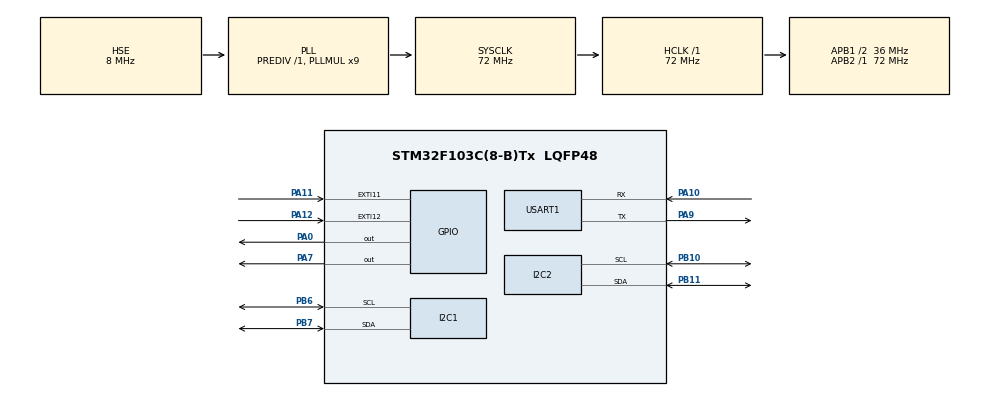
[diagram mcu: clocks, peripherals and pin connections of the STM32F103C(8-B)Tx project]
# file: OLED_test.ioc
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I2C1.I2C_Mode=I2C_Fast
Mcu.Family=STM32F1
Mcu.Name=STM32F103C(8-B)Tx
Mcu.Package=LQFP48
NVIC.EXTI15_10_IRQn=true\:1\:0\:true\:false\:true\:true\:true\:true
NVIC.PriorityGroup=NVIC_PRIORITYGROUP_4
NVIC.USART1_IRQn=true\:4\:0\:true\:false\:true\:true\:true\:true
PA0-WKUP.Signal=GPIO_Output
PA10.Mode=Asynchronous
PA10.Signal=USART1_RX
PA11.Signal=GPXTI11
PA12.Signal=GPXTI12
PA13.Mode=Serial_Wire
PA13.Signal=SYS_JTMS-SWDIO
PA14.Mode=Serial_Wire
PA14.Signal=SYS_JTCK-SWCLK
PA7.Signal=GPIO_Output
PA9.Mode=Asynchronous
PA9.Signal=USART1_TX
PB10.Mode=I2C
PB10.Signal=I2C2_SCL
PB11.Mode=I2C
PB11.Signal=I2C2_SDA
PB6.Mode=I2C
PB6.Signal=I2C1_SCL
PB7.Mode=I2C
PB7.Signal=I2C1_SDA
PD0-OSC_IN.Mode=HSE-External-Oscillator
PD0-OSC_IN.Signal=RCC_OSC_IN
PD1-OSC_OUT.Mode=HSE-External-Oscillator
PD1-OSC_OUT.Signal=RCC_OSC_OUT
ProjectManager.HeapSize=0x200
ProjectManager.StackSize=0x400
ProjectManager.TargetToolchain=STM32CubeIDE
RCC.AHBFreq_Value=72000000
RCC.APB1CLKDivider=RCC_HCLK_DIV2
RCC.APB1Freq_Value=36000000
RCC.APB1TimFreq_Value=72000000
RCC.APB2Freq_Value=72000000
RCC.APB2TimFreq_Value=72000000
RCC.HCLKFreq_Value=72000000
RCC.PLLMUL=RCC_PLL_MUL9
RCC.PLLSourceVirtual=RCC_PLLSOURCE_HSE
RCC.SYSCLKFreq_VALUE=72000000
RCC.SYSCLKSource=RCC_SYSCLKSOURCE_PLLCLK
RCC.USBFreq_Value=72000000
TIM1.Period=0xffff-1
TIM1.Prescaler=50-1
USART1.VirtualMode=VM_ASYNC
VP_TIM1_VS_ClockSourceINT.Mode=Internal
board=custom

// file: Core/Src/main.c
/* USER CODE BEGIN Header */
/**
  ******************************************************************************
  * @file           : main.c
  * @brief          : Main program body
  ******************************************************************************
  * @attention
  *
  * Copyright (c) 2023 STMicroelectronics.
  * All rights reserved.
  *
  * This software is licensed under terms that can be found in the LICENSE file
  * in the root directory of this software component.
  * If no LICENSE file comes with this software, it is provided AS-IS.
  *
  ******************************************************************************
  */
/* USER CODE END Header */
#include "main.h"

/* USER CODE BEGIN Includes */
#include "stdio.h"
#include "BH1750.h"
#include"fonts.h"
#include"test.h"
#include"ssd1306.h"
#include"bitmap.h"
/* USER CODE END Includes */

/* USER CODE BEGIN PTD */
uint8_t u8_RxBuff[20];
uint8_t u8_RxData;
uint8_t _rxIndex;
int Tx_Flag = 3;
uint32_t ticknow;

/* USER CODE END PTD */

I2C_HandleTypeDef hi2c1;
I2C_HandleTypeDef hi2c2;

TIM_HandleTypeDef htim1;

UART_HandleTypeDef huart1;

/* USER CODE BEGIN PV */
extern volatile uint32_t uwTick;
char strtest[20];
char Uart_recv[10];
int st[3] = {6000,1000,3000};
int m1 = 0, m2 =0, m3 =0, m4 =0;
uint32_t uwtick1;
/* USER CODE END PV */

void SystemClock_Config(void);
static void MX_GPIO_Init(void);
static void MX_I2C1_Init(void);
static void MX_I2C2_Init(void);
static void MX_TIM1_Init(void);
static void MX_USART1_UART_Init(void);

/* USER CODE BEGIN 0 */
int value=0;
float temp;
int warning_temp = 90;
int warning_lux = 50;
////////
void delay (uint16_t time)
{
	/* change your code here for the delay in microseconds */
	__HAL_TIM_SET_COUNTER(&htim1, 0);
	while ((__HAL_TIM_GET_COUNTER(&htim1))<time);
}

void Set_Pin_Output (GPIO_TypeDef *GPIOx, uint16_t GPIO_Pin)
{
	GPIO_InitTypeDef GPIO_InitStruct = {0};
	GPIO_InitStruct.Pin = GPIO_Pin;
	GPIO_InitStruct.Mode = GPIO_MODE_OUTPUT_PP;
	GPIO_InitStruct.Speed = GPIO_SPEED_FREQ_LOW;
	HAL_GPIO_Init(GPIOx, &GPIO_InitStruct);
}

void Set_Pin_Input (GPIO_TypeDef *GPIOx, uint16_t GPIO_Pin)
{
	GPIO_InitTypeDef GPIO_InitStruct = {0};
	GPIO_InitStruct.Pin = GPIO_Pin;
	GPIO_InitStruct.Mode = GPIO_MODE_INPUT;
	GPIO_InitStruct.Pull = GPIO_PULLUP;
	HAL_GPIO_Init(GPIOx, &GPIO_InitStruct);
}
/*********************************** DS18B20 FUNCTIONS ****************************************/

#define DS18B20_PORT GPIOA
#define DS18B20_PIN GPIO_PIN_0

uint8_t DS18B20_Start (void)
{
	uint8_t Response = 0;
	Set_Pin_Output(DS18B20_PORT, DS18B20_PIN);   // set the pin as output
	HAL_GPIO_WritePin (DS18B20_PORT, DS18B20_PIN, 0);  // pull the pin low
	delay (480);   // delay according to datasheet

	Set_Pin_Input(DS18B20_PORT, DS18B20_PIN);    // set the pin as input
	delay (80);    // delay according to datasheet

	if (!(HAL_GPIO_ReadPin (DS18B20_PORT, DS18B20_PIN))) Response = 1;    // if the pin is low i.e the presence pulse is detected
	else Response = -1;

	delay (400); // 480 us delay totally.

	return Response;
}

void DS18B20_Write (uint8_t data)
{
	Set_Pin_Output(DS18B20_PORT, DS18B20_PIN);  // set as output

	for (int i=0; i<8; i++)
	{

		if ((data & (1<<i))!=0)  // if the bit is high
		{
			// write 1

			Set_Pin_Output(DS18B20_PORT, DS18B20_PIN);  // set as output
			HAL_GPIO_WritePin (DS18B20_PORT, DS18B20_PIN, 0);  // pull the pin LOW
			delay (1);  // wait for 1 us

			Set_Pin_Input(DS18B20_PORT, DS18B20_PIN);  // set as input
			delay (50);  // wait for 60 us
		}

		else  // if the bit is low
		{
			// write 0

			Set_Pin_Output(DS18B20_PORT, DS18B20_PIN);
			HAL_GPIO_WritePin (DS18B20_PORT, DS18B20_PIN, 0);  // pull the pin LOW
			delay (50);  // wait for 60 us

			Set_Pin_Input(DS18B20_PORT, DS18B20_PIN);
		}
	}
}

uint8_t DS18B20_Read (void)
{
	uint8_t value=0;

	Set_Pin_Input(DS18B20_PORT, DS18B20_PIN);

	for (int i=0;i<8;i++)
	{
		Set_Pin_Output(DS18B20_PORT, DS18B20_PIN);   // set as output

		HAL_GPIO_WritePin (DS18B20_PORT, DS18B20_PIN, 0);  // pull the data pin LOW
		delay (1);  // wait for > 1us

		Set_Pin_Input(DS18B20_PORT, DS18B20_PIN);  // set as input
		if (HAL_GPIO_ReadPin (DS18B20_PORT, DS18B20_PIN))  // if the pin is HIGH
		{
			value |= 1<<i;  // read = 1
		}
		delay (50);  // wait for 60 us
	}
	return value;
}
float DS18B20_Readvalue ()
{
	uint8_t  Temp_byte1, Temp_byte2;
	uint16_t  TEMP;

	float Temperature = 0;

	 DS18B20_Start ();
		  	  HAL_Delay (1);
		  	  DS18B20_Write (0xCC);  // skip ROM
		  	  DS18B20_Write (0x44);  // convert t
		  	  HAL_Delay (800);

		  	   DS18B20_Start ();
		        HAL_Delay(1);
		        DS18B20_Write (0xCC);  // skip ROM
		        DS18B20_Write (0xBE);  // Read Scratch-pad

		        Temp_byte1 = DS18B20_Read();
		  	  Temp_byte2 = DS18B20_Read();
		  	  TEMP = (Temp_byte2<<8)|Temp_byte1;
		  	  Temperature = (float)TEMP/16;
		  	  return Temperature;
}
void hien_thilux(char * str);
void hien_thitemp (char * TEMP);
void hien_thi(const unsigned char* str);
BH1750_device_t* test_dev;
void task1();
void task2();
void canh_bao ();
int __io_putchar (int ch){
	HAL_UART_Transmit(&huart1,(uint8_t *)&ch,1,100);
	return ch;
}

/* USER CODE END 0 */

int main(void)
{

  /* MCU Configuration--------------------------------------------------------*/

  /* Reset of all peripherals, Initializes the Flash interface and the Systick. */
  HAL_Init();

  /* Configure the system clock */
  SystemClock_Config();

  /* Initialize all configured peripherals */
  MX_GPIO_Init();
  MX_I2C1_Init();
  MX_I2C2_Init();
  MX_TIM1_Init();
  MX_USART1_UART_Init();
  /* USER CODE BEGIN 2 */
  HAL_TIM_Base_Start(&htim1);
  SSD1306_Init (); // initialize the display
  BH1750_init_i2c(&hi2c2);
  test_dev = BH1750_init_dev_struct(&hi2c2, "test device", true);
  BH1750_init_dev(test_dev);
  HAL_UART_Receive_IT(&huart1,(uint8_t*)Uart_recv, 8);
  SSD1306_UpdateScreen();
  uwTick=0;
  /* USER CODE END 2 */

  /* Infinite loop */
  /* USER CODE BEGIN WHILE */
  while (1)
  {
	 if(Tx_Flag == 3)
	 {
		 st[0] = 6000; st[1] =1000; st[2]=3000;//1 la canh bao, 2 la temp, 3 la lux
		 if (uwTick % st[0] == 0)
		 {
			 uwtick1 = uwTick;
			 canh_bao();

		 }
		 if (uwTick % st[1] == 100)
		 {
			 uwtick1 = uwTick;
			 task1();
		 }
		 if (uwTick % st[2] == 950)
		 {
		 	uwtick1 = uwTick;
		 	task2();
		 }
	 }
	 if(Tx_Flag == 1)
	 {
		 if (uwTick % st[0] == 0)
		 {
			 uwtick1 = uwTick;
			 canh_bao();
		 }
		 if (uwTick % st[1] == 100)
		 {
		 	uwtick1 = uwTick;
		 	task1();
		 }
	 }
	 if(Tx_Flag ==2)
	 {
		 if (uwTick % st[0] == 0)
		 {
			uwtick1 = uwTick;
		 	canh_bao();
		 }
		 if (uwTick % st[2] == 950)
		 {
			 uwtick1 = uwTick;
		 	task2();
		 }
	 }
    /* USER CODE END WHILE */

  }
}

void SystemClock_Config(void)
{
  RCC_OscInitTypeDef RCC_OscInitStruct = {0};
  RCC_ClkInitTypeDef RCC_ClkInitStruct = {0};

  /** Initializes the RCC Oscillators according to the specified parameters
  * in the RCC_OscInitTypeDef structure.
  */
  RCC_OscInitStruct.OscillatorType = RCC_OSCILLATORTYPE_HSE;
  RCC_OscInitStruct.HSEState = RCC_HSE_ON;
  RCC_OscInitStruct.HSEPredivValue = RCC_HSE_PREDIV_DIV1;
  RCC_OscInitStruct.HSIState = RCC_HSI_ON;
  RCC_OscInitStruct.PLL.PLLState = RCC_PLL_ON;
  RCC_OscInitStruct.PLL.PLLSource = RCC_PLLSOURCE_HSE;
  RCC_OscInitStruct.PLL.PLLMUL = RCC_PLL_MUL9;
  if (HAL_RCC_OscConfig(&RCC_OscInitStruct) != HAL_OK)
  {
    Error_Handler();
  }

  /** Initializes the CPU, AHB and APB buses clocks
  */
  RCC_ClkInitStruct.ClockType = RCC_CLOCKTYPE_HCLK|RCC_CLOCKTYPE_SYSCLK
                              |RCC_CLOCKTYPE_PCLK1|RCC_CLOCKTYPE_PCLK2;
  RCC_ClkInitStruct.SYSCLKSource = RCC_SYSCLKSOURCE_PLLCLK;
  RCC_ClkInitStruct.AHBCLKDivider = RCC_SYSCLK_DIV1;
  RCC_ClkInitStruct.APB1CLKDivider = RCC_HCLK_DIV2;
  RCC_ClkInitStruct.APB2CLKDivider = RCC_HCLK_DIV1;

  if (HAL_RCC_ClockConfig(&RCC_ClkInitStruct, FLASH_LATENCY_2) != HAL_OK)
  {
    Error_Handler();
  }
}

static void MX_I2C1_Init(void)
{

  hi2c1.Instance = I2C1;
  hi2c1.Init.ClockSpeed = 400000;
  hi2c1.Init.DutyCycle = I2C_DUTYCYCLE_2;
  hi2c1.Init.OwnAddress1 = 0;
  hi2c1.Init.AddressingMode = I2C_ADDRESSINGMODE_7BIT;
  hi2c1.Init.DualAddressMode = I2C_DUALADDRESS_DISABLE;
  hi2c1.Init.OwnAddress2 = 0;
  hi2c1.Init.GeneralCallMode = I2C_GENERALCALL_DISABLE;
  hi2c1.Init.NoStretchMode = I2C_NOSTRETCH_DISABLE;
  if (HAL_I2C_Init(&hi2c1) != HAL_OK)
  {
    Error_Handler();
  }

}

static void MX_I2C2_Init(void)
{

  hi2c2.Instance = I2C2;
  hi2c2.Init.ClockSpeed = 100000;
  hi2c2.Init.DutyCycle = I2C_DUTYCYCLE_2;
  hi2c2.Init.OwnAddress1 = 0;
  hi2c2.Init.AddressingMode = I2C_ADDRESSINGMODE_7BIT;
  hi2c2.Init.DualAddressMode = I2C_DUALADDRESS_DISABLE;
  hi2c2.Init.OwnAddress2 = 0;
  hi2c2.Init.GeneralCallMode = I2C_GENERALCALL_DISABLE;
  hi2c2.Init.NoStretchMode = I2C_NOSTRETCH_DISABLE;
  if (HAL_I2C_Init(&hi2c2) != HAL_OK)
  {
    Error_Handler();
  }

}

static void MX_TIM1_Init(void)
{

  TIM_ClockConfigTypeDef sClockSourceConfig = {0};
  TIM_MasterConfigTypeDef sMasterConfig = {0};

  htim1.Instance = TIM1;
  htim1.Init.Prescaler = 50-1;
  htim1.Init.CounterMode = TIM_COUNTERMODE_UP;
  htim1.Init.Period = 0xffff-1;
  htim1.Init.ClockDivision = TIM_CLOCKDIVISION_DIV1;
  htim1.Init.RepetitionCounter = 0;
  htim1.Init.AutoReloadPreload = TIM_AUTORELOAD_PRELOAD_DISABLE;
  if (HAL_TIM_Base_Init(&htim1) != HAL_OK)
  {
    Error_Handler();
  }
  sClockSourceConfig.ClockSource = TIM_CLOCKSOURCE_INTERNAL;
  if (HAL_TIM_ConfigClockSource(&htim1, &sClockSourceConfig) != HAL_OK)
  {
    Error_Handler();
  }
  sMasterConfig.MasterOutputTrigger = TIM_TRGO_RESET;
  sMasterConfig.MasterSlaveMode = TIM_MASTERSLAVEMODE_DISABLE;
  if (HAL_TIMEx_MasterConfigSynchronization(&htim1, &sMasterConfig) != HAL_OK)
  {
    Error_Handler();
  }

}

static void MX_USART1_UART_Init(void)
{

  huart1.Instance = USART1;
  huart1.Init.BaudRate = 115200;
  huart1.Init.WordLength = UART_WORDLENGTH_8B;
  huart1.Init.StopBits = UART_STOPBITS_1;
  huart1.Init.Parity = UART_PARITY_NONE;
  huart1.Init.Mode = UART_MODE_TX_RX;
  huart1.Init.HwFlowCtl = UART_HWCONTROL_NONE;
  huart1.Init.OverSampling = UART_OVERSAMPLING_16;
  if (HAL_UART_Init(&huart1) != HAL_OK)
  {
    Error_Handler();
  }

}

static void MX_GPIO_Init(void)
{
  GPIO_InitTypeDef GPIO_InitStruct = {0};

  /* GPIO Ports Clock Enable */
  __HAL_RCC_GPIOD_CLK_ENABLE();
  __HAL_RCC_GPIOA_CLK_ENABLE();
  __HAL_RCC_GPIOB_CLK_ENABLE();

  /*Configure GPIO pin Output Level */
  HAL_GPIO_WritePin(GPIOA, GPIO_PIN_0|GPIO_PIN_7, GPIO_PIN_RESET);

  /*Configure GPIO pins : PA0 PA7 */
  GPIO_InitStruct.Pin = GPIO_PIN_0|GPIO_PIN_7;
  GPIO_InitStruct.Mode = GPIO_MODE_OUTPUT_PP;
  GPIO_InitStruct.Pull = GPIO_NOPULL;
  GPIO_InitStruct.Speed = GPIO_SPEED_FREQ_LOW;
  HAL_GPIO_Init(GPIOA, &GPIO_InitStruct);

  /*Configure GPIO pins : PA11 PA12 */
  GPIO_InitStruct.Pin = GPIO_PIN_11|GPIO_PIN_12;
  GPIO_InitStruct.Mode = GPIO_MODE_IT_RISING;
  GPIO_InitStruct.Pull = GPIO_NOPULL;
  HAL_GPIO_Init(GPIOA, &GPIO_InitStruct);

  /* EXTI interrupt init*/
  HAL_NVIC_SetPriority(EXTI15_10_IRQn, 1, 0);
  HAL_NVIC_EnableIRQ(EXTI15_10_IRQn);

}

/* USER CODE BEGIN 4 */
void HAL_UART_RxCpltCallback(UART_HandleTypeDef *huart)
{
	if (huart->Instance == huart1.Instance)
	{
		if(strstr(Uart_recv,"t1:")!=NULL)
		{
			sscanf(Uart_recv+3,"%d",&st[1]);
		}
		if(strstr(Uart_recv,"t2:")!=NULL)
		{
			sscanf(Uart_recv+3,"%d",&st[2]);
		}
		if(strstr(Uart_recv,"chedo:")!=NULL)
		{
			sscanf(Uart_recv+7,"%d",&Tx_Flag);
		}
		if(strstr(Uart_recv,"bao1:")!=NULL)
		{
			sscanf(Uart_recv+6,"%d",&warning_temp);
		}
		if(strstr(Uart_recv,"bao2:")!=NULL)
		{
			sscanf(Uart_recv+6,"%d",&warning_lux);
		}
		HAL_UART_Receive_IT(&huart1,(uint8_t*)Uart_recv,8);
	}
}
void HAL_GPIO_EXTI_Callback(uint16_t GPIO_Pin)
{
    if(GPIO_Pin == GPIO_PIN_11) // If The INT Source Is EXTI Line9 (A9 Pin)
    {
    	st[0]= st[0] + 500;
    	HAL_GPIO_TogglePin(GPIOA, GPIO_PIN_7);
    }
    if(GPIO_Pin == GPIO_PIN_12) // If The INT Source Is EXTI Line9 (A9 Pin)
        {
        	st[1]= st[1] + 500;
        	HAL_GPIO_TogglePin(GPIOA, GPIO_PIN_7);
     }
}
void task1 ()
{
	char Temp[15] ;
	ticknow= HAL_GetTick();
			  		temp=DS18B20_Readvalue ();
//			  		if(temp >= warning_temp)
//			  		{
//			  			printf("CHAY ROI::Temp: %.1f %d %d\n",temp,(int)ticknow, (int)(uwTick-uwtick1));
//			  			hien_thitemp(Temp);
//			  			SSD1306_DrawBitmap(85, 0, nhietdo, 64, 64, 1);
//			  			SSD1306_UpdateScreen();
//			  		}
//			  		else

			  			printf("Temp: %.1f %d %d\n",temp,(int)ticknow, (int)(uwTick-uwtick1));
			  			sprintf(Temp, "Temp:%.1f", temp);

			  			hien_thitemp(Temp);

}
void task2()
{
	char light[15] ;
	ticknow= HAL_GetTick();
			  		BH1750_get_lumen(test_dev);
			  		value=test_dev->value;
//			  		if(value >= warning_lux)
//			  		{
//			  			printf("SANG ROI::%d %d %d\n",value,(int)ticknow, (int)(uwTick-uwtick1));
//			  			hien_thilux(light);
//			  			SSD1306_DrawBitmap(85, 0, anh_sang, 64, 64, 1);
//			  			SSD1306_UpdateScreen();
//			  		}
//			  		else

			  			sprintf(light, "%d", value);
			  			hien_thilux(light);
			  			printf("Lux:%d %d %d\n",value,(int)ticknow, (int)(uwTick-uwtick1));

}
void canh_bao (){
	ticknow= HAL_GetTick();
	if(temp < warning_temp && value < warning_lux)
	{
		m1++;m2=0;m3=0;m4=0;
	    if (m1==1) {
	    	SSD1306_Clear();
	    }
	}else if (temp > warning_temp && value < warning_lux) {
		printf("CHAY ROI::%d\n",(int)temp);
	    m1=0;m2++;m3=0;m4=0;
	    if (m2==1) {
		   SSD1306_Clear();
	    }
	    hien_thi(nhietdo);
	}else if (temp < warning_temp && value > warning_lux) {
		printf("SANG ROI::%d\n",value);
		m1=0;m3++;m2=0;m4=0;
		if (m3==1) {
			SSD1306_Clear();}
		hien_thi(lux);
	}else if (temp > warning_temp && value > warning_lux) {
		printf("TOANG ROI::%d %d\n",value, (int)temp);
		m1=0;m4++;m2=0;m3=0;
		if (m4==1) {
			SSD1306_Clear();}
		hien_thi(nguyhiem);
	}
	printf("Canh bao:%d %d\n",(int)ticknow, (int)(uwTick-uwtick1));
}
void hien_thi(const unsigned char* str)
{
	SSD1306_DrawBitmap(85, 0, str, 64, 64, 1);
	SSD1306_UpdateScreen();
}
void hien_thilux(char * str) {
	//SSD1306_Clear ();
	//SSD1306_GotoXY (10,10); // goto 10, 10
	SSD1306_GotoXY (0, 10);
		  		SSD1306_Puts ("Lux:     ", &Font_11x18, 1);
		  		SSD1306_UpdateScreen();
		  		if(value < 10) {
		  			SSD1306_GotoXY (63, 10);  // 1 DIGIT
		  		}
		  		else if (value < 100 ) {
		  			SSD1306_GotoXY (55, 10);  // 2 DIGITS
		  		}
		  		else if (value < 1000 ) {
		  			SSD1306_GotoXY (47, 10);  // 3 DIGITS
		  		}
		  		else {
		  			SSD1306_GotoXY (40, 10);  // 4 DIGIS
		  		}
	  SSD1306_Puts (str, &Font_11x18, 1);
	  SSD1306_UpdateScreen();

}
void hien_thitemp (char * TEMP){
	SSD1306_GotoXY (0, 30);
	SSD1306_Puts (TEMP, &Font_11x18, 1);
		  SSD1306_UpdateScreen();
}
/* USER CODE END 4 */

void Error_Handler(void)
{
  __disable_irq();
  while (1)
  {
  }
}
